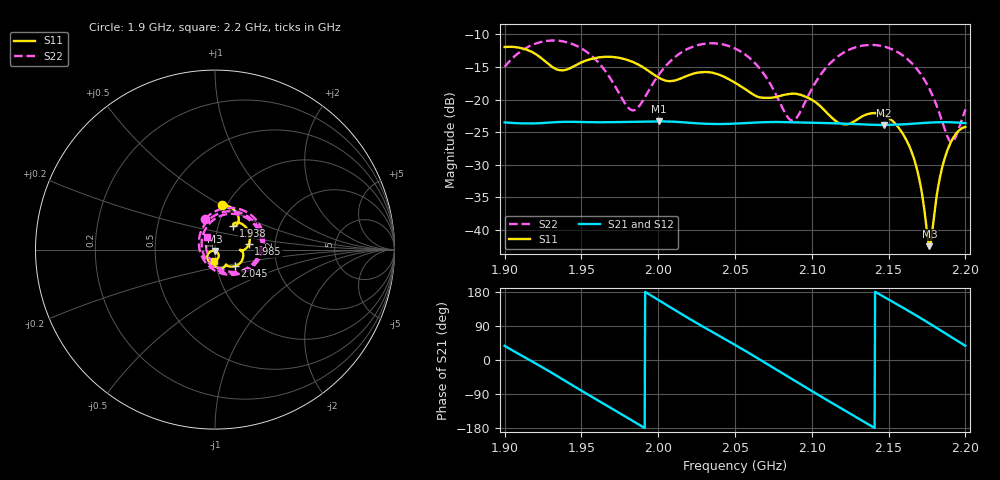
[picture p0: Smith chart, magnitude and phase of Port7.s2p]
# Hz S RI R 50
! CMT, CMT808U, 21440046, 21.4.3/4
! Date: 3/28/2026 5:00:04 PM
! Data: Format (Calibration Info)
! Freq	S11:Re/Im(F2)	S41:Re/Im(F2)	S14:Re/Im(F2)	S44:Re/Im(F2)
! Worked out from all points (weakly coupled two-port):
!   1001 points, 1.9 GHz to 2.2 GHz, reference 50 ohm
!   highest |S21| = -23.36 dB at 2.001 GHz (marker M1); lowest = -23.9 dB at 2.147 GHz (marker M2)
!   lowest |S11| = -42.6 dB at 2.177 GHz (marker M3), VSWR 1.02, Z = 49.8 - j0.715 ohm
!   |S11| at or under -10 dB: start of sweep to end of sweep
!   |S22| runs from -26.5 to -10.9 dB; largest |S21 - S12| = 0.00042
!   S11 on the Smith chart (normalised r, x): 1.9 GHz: 0.95, +0.51; 1.938 GHz: 1.18, +0.32; 1.985 GHz: 1.46, +0.09; 2.045 GHz: 1.23, -0.23; 2.2 GHz: 0.98, -0.12
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1.9e9  0.04 0.2503  0.0531 0.0404  0.0527 0.0405  -0.0565 0.1692
1.9177e9  0.1255 0.1958  0.0653 -0.00389  0.0652 -0.00355  0.1315 0.227
1.9381e9  0.1019 0.1333  0.0417 -0.0529  0.0418 -0.0526  0.2729 0.0625
1.9501e9  0.1205 0.1508  0.0103 -0.0663  0.0106 -0.0662  0.238 -0.0652
1.9672e9  0.1805 0.1134  -0.0354 -0.0568  -0.035 -0.0569  0.0681 -0.1398
1.9849e9  0.1887 0.0303  -0.0649 -0.0182  -0.0647 -0.0185  -0.0811 -0.0186
2.0002e9  0.1474 -0.00542  -0.0631 0.0252  -0.063 0.0248  -0.054 0.1444
2.0005e9  0.1467 -0.00541  -0.0628 0.026  -0.0628 0.0256  -0.0519 0.1471
2.0203e9  0.1539 -0.0136  -0.0213 0.0627  -0.0216 0.0625  0.14 0.2053
2.0452e9  0.1117 -0.0924  0.0408 0.0505  0.0406 0.0507  0.2595 0.00303
2.05e9  0.0952 -0.0951  0.0501 0.0418  0.0498 0.042  0.243 -0.0432
2.0683e9  0.0623 -0.0822  0.0667 -0.00474  0.0666 -0.00442  0.0879 -0.134
2.0863e9  0.0481 -0.0997  0.0444 -0.0501  0.0446 -0.0498  -0.0607 -0.0336
2.1001e9  0.0094 -0.099  0.00919 -0.0657  0.00953 -0.0655  -0.0574 0.1067
2.1199e9  -0.00144 -0.0646  -0.0417 -0.0502  -0.0414 -0.0504  0.1084 0.1986
2.1472e9  -0.0331 -0.0682  -0.0618 0.0153  -0.0619 0.015  0.2549 0.0113
2.1502e9  -0.0384 -0.0611  -0.0596 0.0227  -0.0596 0.0223  0.2481 -0.0167
2.1661e9  -0.0324 -0.0163  -0.0345 0.0553  -0.0348 0.055  0.1419 -0.1184
2.1766e9  -0.002 -0.00718  -0.00737 0.066  -0.00769 0.0659  0.0424 -0.1129
2.1838e9  0.0167 -0.0205  0.0136 0.0655  0.0132 0.0655  -0.0138 -0.0727
2.1904e9  0.0196 -0.0423  0.0319 0.0588  0.0315 0.0589  -0.0441 -0.0174
2.2e9  -0.00564 -0.0613  0.0522 0.04  0.052 0.0403  -0.0419 0.0727
